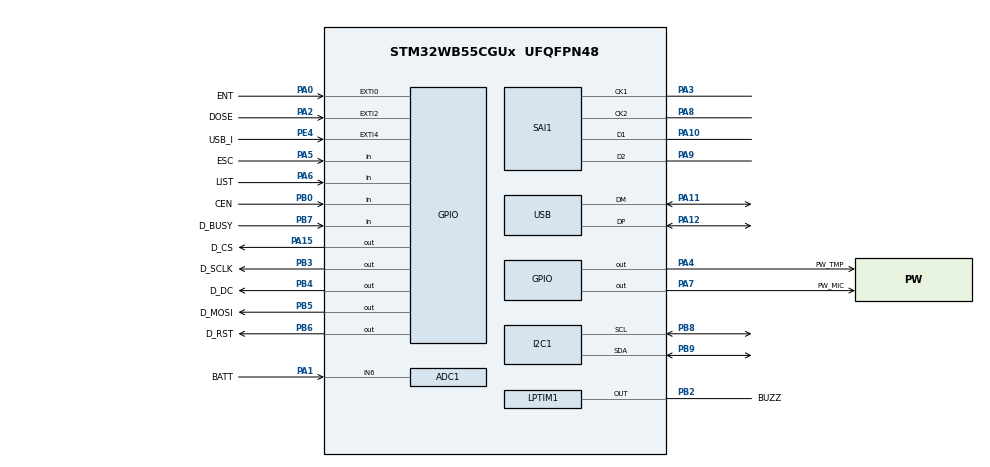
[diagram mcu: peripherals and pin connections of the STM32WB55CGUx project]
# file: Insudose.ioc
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ADC1.Channel-0\#ChannelRegularConversion=ADC_CHANNEL_6
ADC1.LowPowerAutoWait=ENABLE
ADC1.NbrOfConversion=1
ADC1.NbrOfConversionFlag=1
ADC1.OffsetNumber-0\#ChannelRegularConversion=ADC_OFFSET_NONE
ADC1.Rank-0\#ChannelRegularConversion=1
ADC1.SamplingTime-0\#ChannelRegularConversion=ADC_SAMPLETIME_2CYCLES_5
ADC1.master=1
I2C1.Timing=0x00100D14
Mcu.Family=STM32WB
Mcu.Name=STM32WB55CGUx
Mcu.Package=UFQFPN48
NVIC.EXTI0_IRQn=true\:0\:0\:false\:false\:true\:true\:true\:true
NVIC.EXTI2_IRQn=true\:0\:0\:false\:false\:true\:true\:true\:true
NVIC.EXTI4_IRQn=true\:0\:0\:false\:false\:true\:true\:true\:true
NVIC.HSEM_IRQn=true\:0\:0\:false\:false\:true\:false\:true\:true
NVIC.IPCC_C1_RX_IRQn=true\:0\:0\:false\:false\:true\:true\:true\:true
NVIC.IPCC_C1_TX_IRQn=true\:0\:0\:false\:false\:true\:true\:true\:true
NVIC.LPTIM2_IRQn=true\:2\:0\:true\:false\:true\:true\:true\:true
NVIC.PriorityGroup=NVIC_PRIORITYGROUP_4
NVIC.RCC_IRQn=true\:2\:0\:true\:false\:true\:true\:false\:true
NVIC.RTC_WKUP_IRQn=true\:0\:0\:false\:false\:true\:true\:true\:true
NVIC.SAI1_IRQn=true\:0\:0\:false\:false\:true\:true\:true\:true
NVIC.USB_LP_IRQn=true\:0\:0\:false\:false\:true\:false\:true\:true
OSC_IN.Mode=HSE-External-Oscillator
OSC_IN.Signal=RCC_OSC_IN
OSC_OUT.Mode=HSE-External-Oscillator
OSC_OUT.Signal=RCC_OSC_OUT
PA0.GPIO_Label=ENT
PA0.GPIO_ModeDefaultEXTI=GPIO_MODE_IT_FALLING
PA0.GPIO_PuPd=GPIO_PULLUP
PA0.Signal=GPXTI0
PA1.GPIO_Label=BATT
PA1.Signal=ADCx_IN6
PA10.Mode=PDM_Master_Mode_CK1
PA10.Signal=SAI1_D1
PA11.Mode=Device
PA11.Signal=USB_DM
PA12.Mode=Device
PA12.Signal=USB_DP
PA13.Mode=Serial_Wire
PA13.Signal=SYS_JTMS-SWDIO
PA14.Mode=Serial_Wire
PA14.Signal=SYS_JTCK-SWCLK
PA15.GPIO_Label=D_CS
PA15.Signal=GPIO_Output
PA2.GPIO_Label=DOSE
PA2.GPIO_ModeDefaultEXTI=GPIO_MODE_IT_FALLING
PA2.GPIO_PuPd=GPIO_PULLUP
PA2.Signal=GPXTI2
PA3.Mode=PDM_Master_Mode_CK1
PA3.Signal=SAI1_CK1
PA4.GPIO_Label=PW_TMP
PA4.Signal=GPIO_Output
PA5.GPIO_Label=ESC
PA5.GPIO_PuPd=GPIO_PULLUP
PA5.Signal=GPIO_Input
PA6.GPIO_Label=LIST
PA6.GPIO_PuPd=GPIO_PULLUP
PA6.Signal=GPIO_Input
PA7.GPIO_Label=PW_MIC
PA7.Signal=GPIO_Output
PA8.Mode=CK2
PA8.Signal=SAI1_CK2
PA9.Mode=3_4_MicroPhones
PA9.Signal=SAI1_D2
PB0.GPIO_Label=CEN
PB0.Signal=GPIO_Input
PB2.GPIO_Label=BUZZ
PB2.Mode=WaveformGeneration
PB2.Signal=LPTIM1_OUT
PB3.GPIO_Label=D_SCLK
PB3.Signal=GPIO_Output
PB4.GPIO_Label=D_DC
PB4.Signal=GPIO_Output
PB5.GPIO_Label=D_MOSI
PB5.Signal=GPIO_Output
PB6.GPIO_Label=D_RST
PB6.Signal=GPIO_Output
PB7.GPIO_Label=D_BUSY
PB7.Signal=GPIO_Input
PB8.GPIO_Pu=GPIO_PULLUP
PB8.Mode=I2C
PB8.Signal=I2C1_SCL
PB9.GPIO_Pu=GPIO_PULLUP
PB9.Mode=I2C
PB9.Signal=I2C1_SDA
PC14-OSC32_IN.Mode=LSE-External-Oscillator
PC14-OSC32_IN.Signal=RCC_OSC32_IN
PC15-OSC32_OUT.Mode=LSE-External-Oscillator
PC15-OSC32_OUT.Signal=RCC_OSC32_OUT
PE4.GPIO_Label=USB_I
PE4.GPIO_ModeDefaultEXTI=GPIO_MODE_IT_RISING
PE4.Signal=GPXTI4
ProjectManager.HeapSize=0x200
ProjectManager.StackSize=0x400
ProjectManager.TargetToolchain=STM32CubeIDE
RCC.ADCFreq_Value=48000000
RCC.AHB2CLKDivider=RCC_SYSCLK_DIV2
RCC.AHBCLKDivider=RCC_SYSCLK_DIV2
RCC.AHBFreq_Value=32000000
RCC.APB1CLKDivider=RCC_HCLK_DIV8
RCC.APB1Freq_Value=4000000
RCC.APB1TimFreq_Value=8000000
RCC.APB2Freq_Value=32000000
RCC.APB2TimFreq_Value=32000000
RCC.APB3Freq_Value=16000000
RCC.CK48CLockSelection=RCC_USBCLKSOURCE_HSI48
RCC.Cortex2_Div=SYSTICK_CLKSOURCE_HCLK_DIV8
RCC.CortexFreq_Value=32000000
RCC.HCLKFreq_Value=32000000
RCC.HSE_VALUE=32000000
RCC.HSI48_VALUE=48000000
RCC.HSICalibrationValue=0
RCC.HSI_VALUE=16000000
RCC.LPTIM2CLockSelection=RCC_LPTIM2CLKSOURCE_LSE
RCC.PLLN=32
RCC.PLLQ=RCC_PLLQ_DIV3
RCC.PLLSAI1N=24
RCC.RFWKPClockSelection=RCC_RFWKPCLKSOURCE_LSE
RCC.RTCClockSelection=RCC_RTCCLKSOURCE_LSE
RCC.SYSCLKFreq_VALUE=64000000
RCC.SYSCLKSource=RCC_SYSCLKSOURCE_PLLCLK
RCC.USBFreq_Value=48000000
RCC.VCOOutputFreq_Value=128000000
RCC.VDD_VALUE=3
RF1.Mode=RF1_Activate
RF1.Signal=RF_RF1
SAI1.Activation=ENABLE
SAI1.AudioFrequency-PDM_Master_Mode_CK1=SAI_AUDIO_FREQUENCY_96K
SAI1.DataSize-PDM_Master_Mode_CK1=SAI_DATASIZE_16
SAI1.ErrorAudioFreq-PDM_Master_Mode_CK1=-2.34 %
SAI1.FrameLength-PDM_Master_Mode_CK1=32
SAI1.Instance-PDM_Master_Mode_CK1=SAI$Index_Block_A
SAI1.MClockEnable-PDM_Master_Mode_CK1=SAI_MASTERCLOCK_DISABLE
SAI1.MonoStereoMode-PDM_Master_Mode_CK1=SAI_MONOMODE
SAI1.RealAudioFreq-PDM_Master_Mode_CK1=93.75 KHz
SAI1.SlotActive-PDM_Master_Mode_CK1=0x00000003
SAI1.SlotSize-PDM_Master_Mode_CK1=SAI_SLOTSIZE_DATASIZE
SAI1.VirtualMode-PDM_Master_Mode_CK1=VM_MASTER
SAI1.VirtualProtocol-PDM_Master_Mode_CK1=VM_PDM_PROTOCOL
SH.ADCx_IN6.0=ADC1_IN6,IN6-Single-Ended
STM32_WPAN.BLE_DBG_APP_EN=0
STM32_WPAN.CFG_GAP_DEVICE_NAME=INSUDOS
STM32_WPAN.CFG_GAP_DEVICE_NAME_LENGTH=7
STM32_WPAN.CFG_LSCLK_LSE=0
STM32_WPAN.CFG_TX_POWER=(0x1D) /* 4dBm */
STM32_WPAN.CUSTOM_P2P_SERVER=Disabled
STM32_WPAN.CUSTOM_TEMPLATE=Enabled
STM32_WPAN.INCLUDE_AD_TYPE_TX_POWER_LEVEL=1
STM32_WPAN.NUMBER_OF_SERVICES=1
STM32_WPAN.SERVICE1_CHAR1_LONG_NAME=Insudos
STM32_WPAN.SERVICE1_CHAR1_SHORT_NAME=id
STM32_WPAN.SERVICE1_LONG_NAME=insudos
STM32_WPAN.SERVICE1_SHORT_NAME=id
USB_DEVICE.CLASS_NAME_FS=MSC
USB_DEVICE.VirtualMode=Msc
USB_DEVICE.VirtualModeFS=Msc_FS
VP_FATFS_VS_Generic.Mode=User_defined
VP_HSEM_VS_HSEM.Mode=HSEM_Activate
VP_IPCC_VS_IPCC.Mode=IPCC_Activate
VP_LPTIM1_VS_LPTIM_counterModeInternalClock.Mode=Counts__internal_clock_event_00
VP_LPTIM2_VS_LPTIM_counterModeInternalClock.Mode=Counts__internal_clock_event_00
VP_MEMORYMAP_VS_MEMORYMAP.Mode=CurAppReg
VP_RTC_VS_RTC_Activate.Mode=RTC_Enabled
VP_RTC_VS_RTC_Calendar.Mode=RTC_Calendar
VP_RTC_VS_RTC_WakeUp_intern.Mode=WakeUp
VP_SEQUENCER_VS_SEQUENCER.Mode=SEQUENCER_Enabled
VP_STM32_WPAN_VS_BLE_HOST.Mode=STM32_WPAN_Enabled
VP_SYS_V_PVD_IN.Mode=Mode_PVD_Int
VP_TINY_LPM_VS_TINY_LPM.Mode=TINY_LPM_Enabled
VP_USB_DEVICE_VS_USB_DEVICE_MSC_FS.Mode=MSC_FS
board=custom

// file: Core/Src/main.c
/* USER CODE BEGIN Header */
/**
  ******************************************************************************
  * @file           : main.c
  * @brief          : Main program body
  ******************************************************************************
  * @attention
  *
  * Copyright (c) 2025 STMicroelectronics.
  * All rights reserved.
  *
  * This software is licensed under terms that can be found in the LICENSE file
  * in the root directory of this software component.
  * If no LICENSE file comes with this software, it is provided AS-IS.
  *
  ******************************************************************************
  */
/* USER CODE END Header */
#include "main.h"
#include "adc.h"
#include "app_fatfs.h"
#include "i2c.h"
#include "ipcc.h"
#include "lptim.h"
#include "rf.h"
#include "rtc.h"
#include "sai.h"
#include "usb_device.h"
#include "gpio.h"

/* USER CODE BEGIN Includes */
#include "Display_EPD_W21_spi.h"
#include "Display_EPD_W21.h"
#include "fonts.h"
#include "GUI_Paint.h"
#include <string.h>
#include "stdio.h"
#include "tmp102.h"
#include "logger.h"
#include "charger.h"
#include "../../Drivers/Boot/bootload.h"
#define ENABLE_EPD 0
/* USER CODE END Includes */

/* USER CODE BEGIN PTD */
#define BUTTON_PIN GPIO_PIN_0
#define BUTTON_PORT GPIOA
#define PIEZO_PIN GPIO_PIN_2
#define PIEZO_PORT GPIOB
#define Butt_TIMEOUT_MS 2000

/* USER CODE END PTD */

/* USER CODE BEGIN PD */
extern RTC_HandleTypeDef hrtc;
//LPTIM_HandleTypeDef hlptim1;

/* USER CODE END PD */

/* USER CODE BEGIN PV */
//static uint8_t BlackImage[EPD_WIDTH * EPD_HEIGHT / 8]; //display drawing buffer
static uint8_t BlackImage[EPD_WIDTH * EPD_HEIGHT / 8];
static uint8_t epd_inited = 0;
uint8_t dose = 0;
float temperature = 0.0f;
static volatile uint8_t dose_event_pending = 0;
static volatile uint8_t usb_event_pending = 0; // edge detected on USB 5V pin
static uint8_t usb_connected = 0; // tracked state
static uint8_t usb_started = 0;   // whether USB device stack is started

// Generic debounce utility (shared for future buttons)
typedef struct {
  uint8_t stable_level;     // last stable raw level (0/1)
  uint8_t debounced_state;  // last debounced logical state (0=not pressed,1=pressed)
  uint32_t last_toggle_ms;  // last time raw changed
  uint32_t debounce_ms;     // threshold
  uint8_t active_low;       // invert logic
} DebounceCtx;

static uint8_t debounce_update(DebounceCtx *ctx, uint8_t raw_level, uint32_t now_ms)
{
  uint8_t event = 0; // 1=pressed, 2=released
  if (raw_level != ctx->stable_level) {
    if ((now_ms - ctx->last_toggle_ms) >= ctx->debounce_ms) {
      // accept new stable level
      ctx->stable_level = raw_level;
      ctx->last_toggle_ms = now_ms;
      uint8_t logical = ctx->active_low ? (ctx->stable_level == 0) : (ctx->stable_level == 1);
      if (logical != ctx->debounced_state) {
        ctx->debounced_state = logical;
        event = logical ? 1 : 2;
      }
    }
  } else {
    // no change; refresh timer baseline
    ctx->last_toggle_ms = now_ms;
  }
  return event;
}

static DebounceCtx s_db_dose = { .stable_level = 1, .debounced_state = 0, .last_toggle_ms = 0, .debounce_ms = 30, .active_low = 1 };
static uint8_t usb_boot_check_active = 0; // non-blocking bootloader hold in progress
static uint32_t usb_boot_deadline_ms = 0;  // time when we decide about boot jump
volatile uint32_t g_boot_stage = 0;        // diagnostic marker for bring-up
/* USER CODE END PV */

void SystemClock_Config(void);
void PeriphCommonClock_Config(void);
/* USER CODE BEGIN PFP */
void PlayBeep(uint32_t duration_ms);
static void BeepPattern(uint8_t count, uint32_t on_ms, uint32_t off_ms);
//void RTC_SetBuildTime(void);
//void Check_And_Log(void);
/* USER CODE END PFP */

/* USER CODE BEGIN 0 */
// removed extra helper prototypes; logic is inlined in main loop
/* USER CODE END 0 */

int main(void)
{

  /* MCU Configuration--------------------------------------------------------*/

  /* Reset of all peripherals, Initializes the Flash interface and the Systick. */
  HAL_Init();
  /* Config code for STM32_WPAN (HSE Tuning must be done before system clock configuration) */
  MX_APPE_Config();

  /* Configure the system clock */
  SystemClock_Config();

  /* Configure the peripherals common clocks */
  PeriphCommonClock_Config();

  /* IPCC initialisation */
  MX_IPCC_Init();

  /* Initialize all configured peripherals */
  MX_GPIO_Init();
  MX_LPTIM1_Init();
  PlayBeep(20);
  MX_RTC_Init();
  MX_I2C1_Init();
  MX_LPTIM2_Init();
  MX_ADC1_Init();
  MX_SAI1_Init();
  if (MX_FATFS_Init() != APP_OK) {
    Error_Handler();
  }
  MX_USB_Device_Init();
  MX_RF_Init();
  /* USER CODE BEGIN 2 */
  // Initialize peripherals for sensors & display
#if ENABLE_EPD
  EPD_GPIO_Init();
  EPD_HW_Init();
  epd_inited = 1;
#endif
  HAL_GPIO_WritePin(PW_TMP_GPIO_Port, PW_TMP_Pin, GPIO_PIN_SET); // power temperature sensor
  HAL_Delay(5);
  TMP102_Init(&hi2c1);
  init_ramdisk();

  // Charger config for CR2032: disable charging, set low-battery thresholds
  charger_set_enabled(false);
  charger_batt_watchdog_config(2700, 200, 100); // sleep=2.7V, hyst=0.2V, watchdog band=0.1V

  // Read USB sense pin only for state tracking; do not gate USB start by this pin.
  usb_connected = (HAL_GPIO_ReadPin(USB_I_GPIO_Port, USB_I_Pin) == GPIO_PIN_SET);
  if (!usb_started) {
    // Diagnostic mode: always start USB stack to validate host enumeration path.
    USB_Device_Start();
    usb_started = 1;
  }
  // If ENTER is held at startup, schedule bootloader jump after 5s (non-blocking).
  if (HAL_GPIO_ReadPin(ENT_GPIO_Port, ENT_Pin) == GPIO_PIN_RESET) {
    usb_boot_check_active = 1;
    usb_boot_deadline_ms = HAL_GetTick() + 5000u;
  }
  g_boot_stage = 8;
  logger_set_usb_active(usb_connected);
  /* USER CODE END 2 */

  /* Init code for STM32_WPAN */
  MX_APPE_Init();
  g_boot_stage = 9;

  // Audible marker: app reached runtime loop.
  BeepPattern(1, 30, 0);

  /* Infinite loop */
  /* USER CODE BEGIN WHILE */
  while (1)
  {
    MX_APPE_Process();
    /* USER CODE BEGIN WHILE */
    // removed old dose_event_pending handler; DOSE is handled by debounce below
    if (usb_event_pending) {
      usb_event_pending = 0;
      uint8_t vbus_now = (HAL_GPIO_ReadPin(USB_I_GPIO_Port, USB_I_Pin) == GPIO_PIN_SET);
      if (vbus_now && !usb_started) {
        // Start USB immediately
        USB_Device_Start();
        usb_started = 1;
      }
      usb_connected = vbus_now;
      logger_set_usb_active(usb_connected);
    }

    // Handle deferred bootloader decision.
    if (usb_boot_check_active) {
      if ((int32_t)(HAL_GetTick() - usb_boot_deadline_ms) >= 0) {
        BeepPattern(2, 30, 40);
        JumpToBootloader();
        usb_boot_check_active = 0; // in case jump returns
      } else if (HAL_GPIO_ReadPin(ENT_GPIO_Port, ENT_Pin) != GPIO_PIN_RESET) {
        // Released early -> cancel bootloader request
        usb_boot_check_active = 0;
      }
    }

    // Debounce DOSE and act on PRESS event
    uint8_t dose_event = debounce_update(&s_db_dose, (HAL_GPIO_ReadPin(DOSE_GPIO_Port, DOSE_Pin) == GPIO_PIN_SET) ? 1 : 0, HAL_GetTick());
    if (dose_event == 1) { // pressed
      RTC_TimeTypeDef sTime; RTC_DateTypeDef sDate;
      HAL_RTC_GetTime(&hrtc, &sTime, RTC_FORMAT_BIN);
      HAL_RTC_GetDate(&hrtc, &sDate, RTC_FORMAT_BIN);
      uint16_t yearFull = 2000u + sDate.Year;
      uint8_t mon = sDate.Month;
      uint8_t day = sDate.Date;
      uint8_t hour = sTime.Hours;
      uint8_t min = sTime.Minutes;
      float temp_f = 0.0f;
      int8_t temp_i = LOG_NO_TEMP;
      if (TMP102_ReadTemperature(&hi2c1, &temp_f) == HAL_OK) {
        temp_i = (int8_t)(temp_f + (temp_f >= 0 ? 0.5f : -0.5f));
      }
      uint8_t dose_units = 1; // fixed per request
      append_log_rotating(yearFull, mon, day, hour, min, dose_units, temp_i);
      CHARGER_Fast fast = charger_get_fast();
#if ENABLE_EPD
      if (!epd_inited) { EPD_GPIO_Init(); EPD_HW_Init(); epd_inited = 1; }
      char dateStr[16];
      char timeStr[16];
      char tempStr[16];
      char battStr[20];
      char chgStr[12];
      snprintf(dateStr, sizeof(dateStr), "%02u.%02u.%04u", (unsigned)day, (unsigned)mon, (unsigned)yearFull);
      snprintf(timeStr, sizeof(timeStr), "%02u:%02u", (unsigned)hour, (unsigned)min);
      if (temp_i == (int8_t)LOG_NO_TEMP) snprintf(tempStr, sizeof(tempStr), "T: /"); else snprintf(tempStr, sizeof(tempStr), "T: %dC", temp_i);
      if (fast.batt_mv > 0) snprintf(battStr, sizeof(battStr), "Bat: %ldmV", (long)fast.batt_mv); else snprintf(battStr, sizeof(battStr), "Bat: /");
      switch (fast.status) {
        case CHARGER_STATUS_CHARGING: strcpy(chgStr, "CHG"); break;
        case CHARGER_STATUS_IDLE: strcpy(chgStr, "IDLE"); break;
        case CHARGER_STATUS_FAULT: strcpy(chgStr, "FLT"); break;
        default: strcpy(chgStr, "?"); break;
      }
      Paint_NewImage(BlackImage, EPD_WIDTH, EPD_HEIGHT, ROTATE_90, WHITE);
      Paint_SetMirroring(MIRROR_VERTICAL);
      Paint_Clear(WHITE);
      Paint_DrawString_EN(5, 5, dateStr, &Font16, WHITE, BLACK);
      Paint_DrawString_EN(5, 30, timeStr, &Font24, WHITE, BLACK);
      Paint_DrawString_EN(5, 60, tempStr, &Font16, WHITE, BLACK);
      Paint_DrawString_EN(5, 80, battStr, &Font16, WHITE, BLACK);
      Paint_DrawString_EN(5, 100, chgStr, &Font16, WHITE, BLACK);
      EPD_Display(BlackImage);
#endif
      PlayBeep(100);
    }
    __WFI(); // inline idle sleep
    /* USER CODE END WHILE */
    MX_APPE_Process();

  }
}

void SystemClock_Config(void)
{
  RCC_OscInitTypeDef RCC_OscInitStruct = {0};
  RCC_ClkInitTypeDef RCC_ClkInitStruct = {0};

  /** Configure LSE Drive Capability
  */
  HAL_PWR_EnableBkUpAccess();
  __HAL_RCC_LSEDRIVE_CONFIG(RCC_LSEDRIVE_MEDIUMHIGH);

  /** Configure the main internal regulator output voltage
  */
  __HAL_PWR_VOLTAGESCALING_CONFIG(PWR_REGULATOR_VOLTAGE_SCALE1);

  /** Initializes the RCC Oscillators according to the specified parameters
  * in the RCC_OscInitTypeDef structure.
  */
  RCC_OscInitStruct.OscillatorType = RCC_OSCILLATORTYPE_HSI48|RCC_OSCILLATORTYPE_HSI
                              |RCC_OSCILLATORTYPE_HSE|RCC_OSCILLATORTYPE_LSE
                              |RCC_OSCILLATORTYPE_MSI;
  RCC_OscInitStruct.HSEState = RCC_HSE_ON;
  RCC_OscInitStruct.LSEState = RCC_LSE_ON;
  RCC_OscInitStruct.HSIState = RCC_HSI_ON;
  RCC_OscInitStruct.MSIState = RCC_MSI_ON;
  RCC_OscInitStruct.HSI48State = RCC_HSI48_ON;
  RCC_OscInitStruct.HSICalibrationValue = 0;
  RCC_OscInitStruct.MSICalibrationValue = RCC_MSICALIBRATION_DEFAULT;
  RCC_OscInitStruct.MSIClockRange = RCC_MSIRANGE_6;
  RCC_OscInitStruct.PLL.PLLState = RCC_PLL_ON;
  RCC_OscInitStruct.PLL.PLLSource = RCC_PLLSOURCE_MSI;
  RCC_OscInitStruct.PLL.PLLM = RCC_PLLM_DIV1;
  RCC_OscInitStruct.PLL.PLLN = 32;
  RCC_OscInitStruct.PLL.PLLP = RCC_PLLP_DIV2;
  RCC_OscInitStruct.PLL.PLLR = RCC_PLLR_DIV2;
  RCC_OscInitStruct.PLL.PLLQ = RCC_PLLQ_DIV3;
  if (HAL_RCC_OscConfig(&RCC_OscInitStruct) != HAL_OK)
  {
    Error_Handler();
  }

  /** Configure the SYSCLKSource, HCLK, PCLK1 and PCLK2 clocks dividers
  */
  RCC_ClkInitStruct.ClockType = RCC_CLOCKTYPE_HCLK4|RCC_CLOCKTYPE_HCLK2
                              |RCC_CLOCKTYPE_HCLK|RCC_CLOCKTYPE_SYSCLK
                              |RCC_CLOCKTYPE_PCLK1|RCC_CLOCKTYPE_PCLK2;
  RCC_ClkInitStruct.SYSCLKSource = RCC_SYSCLKSOURCE_PLLCLK;
  RCC_ClkInitStruct.AHBCLKDivider = RCC_SYSCLK_DIV2;
  RCC_ClkInitStruct.APB1CLKDivider = RCC_HCLK_DIV8;
  RCC_ClkInitStruct.APB2CLKDivider = RCC_HCLK_DIV1;
  RCC_ClkInitStruct.AHBCLK2Divider = RCC_SYSCLK_DIV2;
  RCC_ClkInitStruct.AHBCLK4Divider = RCC_SYSCLK_DIV1;

  if (HAL_RCC_ClockConfig(&RCC_ClkInitStruct, FLASH_LATENCY_3) != HAL_OK)
  {
    Error_Handler();
  }
}

void PeriphCommonClock_Config(void)
{
  RCC_PeriphCLKInitTypeDef PeriphClkInitStruct = {0};

  /** Initializes the peripherals clock
  */
  PeriphClkInitStruct.PeriphClockSelection = RCC_PERIPHCLK_SMPS|RCC_PERIPHCLK_RFWAKEUP
                              |RCC_PERIPHCLK_SAI1|RCC_PERIPHCLK_ADC;
  PeriphClkInitStruct.PLLSAI1.PLLN = 24;
  PeriphClkInitStruct.PLLSAI1.PLLP = RCC_PLLP_DIV2;
  PeriphClkInitStruct.PLLSAI1.PLLQ = RCC_PLLQ_DIV2;
  PeriphClkInitStruct.PLLSAI1.PLLR = RCC_PLLR_DIV2;
  PeriphClkInitStruct.PLLSAI1.PLLSAI1ClockOut = RCC_PLLSAI1_SAI1CLK|RCC_PLLSAI1_ADCCLK;
  PeriphClkInitStruct.Sai1ClockSelection = RCC_SAI1CLKSOURCE_PLLSAI1;
  PeriphClkInitStruct.AdcClockSelection = RCC_ADCCLKSOURCE_PLLSAI1;
  PeriphClkInitStruct.RFWakeUpClockSelection = RCC_RFWKPCLKSOURCE_LSE;
  PeriphClkInitStruct.SmpsClockSelection = RCC_SMPSCLKSOURCE_HSI;
  PeriphClkInitStruct.SmpsDivSelection = RCC_SMPSCLKDIV_RANGE1;

  if (HAL_RCCEx_PeriphCLKConfig(&PeriphClkInitStruct) != HAL_OK)
  {
    Error_Handler();
  }
}

/* USER CODE BEGIN 4 */
/////////////////this function generates acoustic signal on mcu GPIO pin via LPTIM//////////////////////
void PlayBeep(uint32_t duration_ms) {
    uint32_t lptim_clk_hz = HAL_RCCEx_GetPeriphCLKFreq(RCC_PERIPHCLK_LPTIM1);
    uint32_t target_hz = 4000u;
    uint32_t ticks_per_period;
    uint32_t period;
    uint32_t pulse;

    if (duration_ms == 0u) {
      return;
    }
    if (duration_ms > 100u) {
      duration_ms = 100u;
    }

    if (lptim_clk_hz == 0u) {
      // Safe fallback if clock query is unavailable.
      lptim_clk_hz = 4000000u;
    }

    ticks_per_period = lptim_clk_hz / target_hz;
    if (ticks_per_period < 2u) {
      ticks_per_period = 2u;
    } else if (ticks_per_period > 0xFFFFu) {
      ticks_per_period = 0xFFFFu;
    }

    period = ticks_per_period - 1u;
    pulse = ticks_per_period / 2u;
    if (pulse == 0u) {
      pulse = 1u;
    }

    if (HAL_LPTIM_PWM_Start(&hlptim1, period, pulse) == HAL_OK) {
      HAL_Delay(duration_ms);
      (void)HAL_LPTIM_PWM_Stop(&hlptim1);
    }
}

static void BeepPattern(uint8_t count, uint32_t on_ms, uint32_t off_ms)
{
  for (uint8_t i = 0; i < count; i++) {
    PlayBeep(on_ms);
    if ((off_ms > 0u) && (i + 1u < count)) {
      HAL_Delay(off_ms);
    }
  }
}

/////////////////set build time function//////////////////////
void RTC_SetBuildTime(void) {
    RTC_TimeTypeDef sTime = {0};
    RTC_DateTypeDef sDate = {0};

    // Parse __DATE__ "Apr 28 2025"
    char build_date[] = __DATE__;
    char build_time[] = __TIME__;

    // Mesiace
    const char *months[] = {
        "Jan", "Feb", "Mar", "Apr", "May", "Jun",
        "Jul", "Aug", "Sep", "Oct", "Nov", "Dec"
    };

    int month = 0;
    for (int i = 0; i < 12; i++) {
        if (strncmp(build_date, months[i], 3) == 0) {
            month = i + 1;
            break;
        }
    }

    int day, year, hour, minute, second;
    sscanf(build_date + 4, "%d %d", &day, &year);
    sscanf(build_time, "%d:%d:%d", &hour, &minute, &second);

    sDate.Year = year % 100; // RTC chce len posledné 2 číslice
    sDate.Month = month;
    sDate.Date = day;
    sDate.WeekDay = 1; // Ignorujeme, HAL to nastaví sám

    sTime.Hours = hour;
    sTime.Minutes = minute;
    sTime.Seconds = second;
    sTime.DayLightSaving = RTC_DAYLIGHTSAVING_NONE;
    sTime.StoreOperation = RTC_STOREOPERATION_RESET;

    HAL_RTC_SetTime(&hrtc, &sTime, RTC_FORMAT_BIN);
    HAL_RTC_SetDate(&hrtc, &sDate, RTC_FORMAT_BIN);
}
///////////////////end of buildtime function////////////////////////

//////////////////datalogger function////////////////////
/*
void Check_And_Log(void)
{
    static uint8_t last_button_state = 1;
    static uint32_t last_debounce_time = 0;
    const uint32_t debounce_delay = 50; // 50 ms debounce

    uint8_t current_state = HAL_GPIO_ReadPin(GPIOA, GPIO_PIN_5);

    if (current_state != last_button_state)
    {
        last_debounce_time = HAL_GetTick(); // reset debounce timer
    }

    if ((HAL_GetTick() - last_debounce_time) > debounce_delay)
    {
        if (current_state == GPIO_PIN_RESET) // tlačidlo stlačené (aktívny stav)
        {
            dose = 5;  // Tu si môžeš dynamicky nastaviť dávku ako potrebuješ

            int8_t temp_int = (int8_t)(temperature + 0.5f); // zaokrúhlenie floatu na najbližšie celé číslo

            Log_SaveRecord(dose, temp_int);
        }
    }

    last_button_state = current_state;
}
*/
/////////////////////////////end of datalogger function//////////////////////

// EXTI events: mark pending flags for main loop processing
void HAL_GPIO_EXTI_Callback(uint16_t GPIO_Pin) {
  if (GPIO_Pin == DOSE_Pin) {
    dose_event_pending = 1;
  } else if (GPIO_Pin == USB_I_Pin) {
    usb_event_pending = 1;
  }
}
/* USER CODE END 4 */

void Error_Handler(void)
{
  /* USER CODE BEGIN Error_Handler_Debug */
  /* User can add his own implementation to report the HAL error return state */
  g_boot_stage |= 0x80000000u;
  __disable_irq();
  while (1)
  {
  }
  /* USER CODE END Error_Handler_Debug */
}
